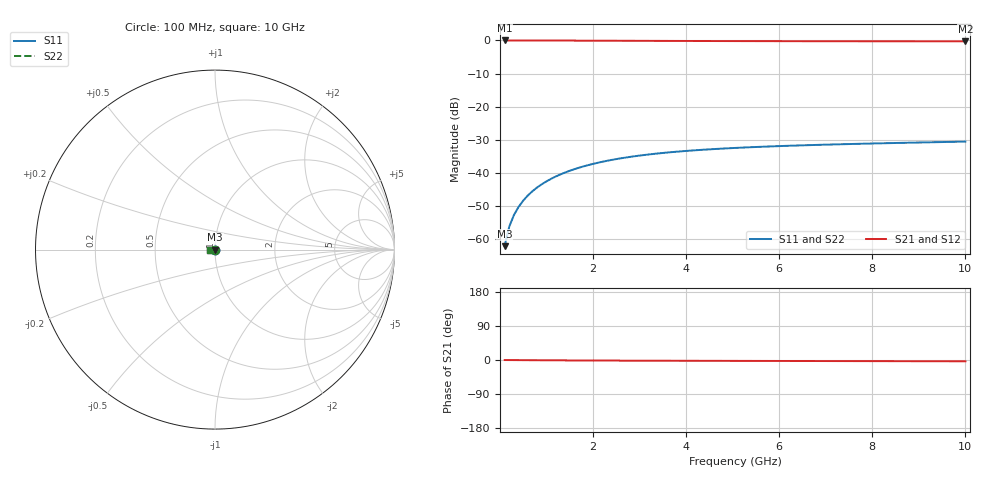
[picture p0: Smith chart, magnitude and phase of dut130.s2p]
! Touchstone file exported from HFSS 2024.1.0
!  File:  C:/UserFiles/LocalFiles/RDL_TSV_Batchsim/temp_TSV1_130_1779379511.aedt
!  Generated:  12:10:01 AM May 22, 2026
!  Design:  TSV1
!  Project:  temp_TSV1_130_1779379511
!  Setup:  Setup1
!  Solution:  Sweep
! Variables:
!  dtsv = 9.34um
!  hbump = 3um
!  htsv = 50.51um
!  lrdl = 252.1521522um
!  p = 40
!  p1 = 44.67um
!  t = 500um
!  trdl = 3um
!  wrdl = 24.89489489um
# GHz S MA R 50.000000
! Terminal data exported
! Port[1] = TSV22_T1
! Port[2] = TSV22_T2
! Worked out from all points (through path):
!   100 points, 100 MHz to 10 GHz, reference 50 ohm
!   highest |S21| = 0.00 dB at 100 MHz (marker M1); lowest = -0.3 dB at 10 GHz (marker M2)
!   lowest |S11| = -62.2 dB at 100 MHz (marker M3), VSWR 1.00, Z = 50 - j0.0765 ohm
!   |S11| at or under -10 dB: start of sweep to end of sweep
!   |S22| runs from -62.2 to -30.6 dB; largest |S21 - S12| = 6e-15
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0.1  0.0007721 -82.0  0.9998 -0.1  0.9998 -0.1  0.0007721 -82.0
! Gamma 0 0 0 0
! Port Impedance 50 0 50 0
0.2  0.001526 -88.6  0.9998 -0.2  0.9998 -0.2  0.001526 -88.6
0.3  0.002281 -92.0  0.9996 -0.2  0.9996 -0.2  0.002281 -92.0
0.4  0.003033 -94.6  0.9995 -0.3  0.9995 -0.3  0.003033 -94.6
0.5  0.00378 -96.8  0.9992 -0.4  0.9992 -0.4  0.00378 -96.8
0.6  0.00452 -98.9  0.999 -0.5  0.999 -0.5  0.00452 -98.9
0.7  0.005252 -100.8  0.9987 -0.5  0.9987 -0.5  0.005252 -100.8
0.8  0.005974 -102.7  0.9983 -0.6  0.9983 -0.6  0.005974 -102.7
0.9  0.006686 -104.5  0.9979 -0.7  0.9979 -0.7  0.006686 -104.5
1.1  0.008074 -107.9  0.9971 -0.8  0.9971 -0.8  0.008074 -107.9
1.4  0.01005 -112.8  0.9956 -1.0  0.9956 -1.0  0.01005 -112.8
1.6  0.01129 -116.0  0.9946 -1.1  0.9946 -1.1  0.01129 -116.0
1.8  0.01246 -118.9  0.9935 -1.3  0.9935 -1.3  0.01246 -118.9
2.1  0.0141 -123.2  0.9918 -1.4  0.9918 -1.4  0.0141 -123.2
2.5  0.01604 -128.5  0.9895 -1.6  0.9895 -1.6  0.01604 -128.5
2.9  0.01773 -133.3  0.9874 -1.7  0.9874 -1.7  0.01773 -133.3
3.4  0.01953 -138.7  0.9848 -1.9  0.9848 -1.9  0.01953 -138.7
4.2  0.02181 -146.3  0.9813 -2.1  0.9813 -2.1  0.02181 -146.3
5.1  0.02374 -153.5  0.9781 -2.4  0.9781 -2.4  0.02374 -153.5
6.7  0.02615 -163.8  0.9739 -2.7  0.9739 -2.7  0.02615 -163.8
8.4  0.028 -172.5  0.971 -3.1  0.971 -3.1  0.028 -172.5
10  0.02949 -179.4  0.9691 -3.4  0.9691 -3.4  0.02949 -179.4
